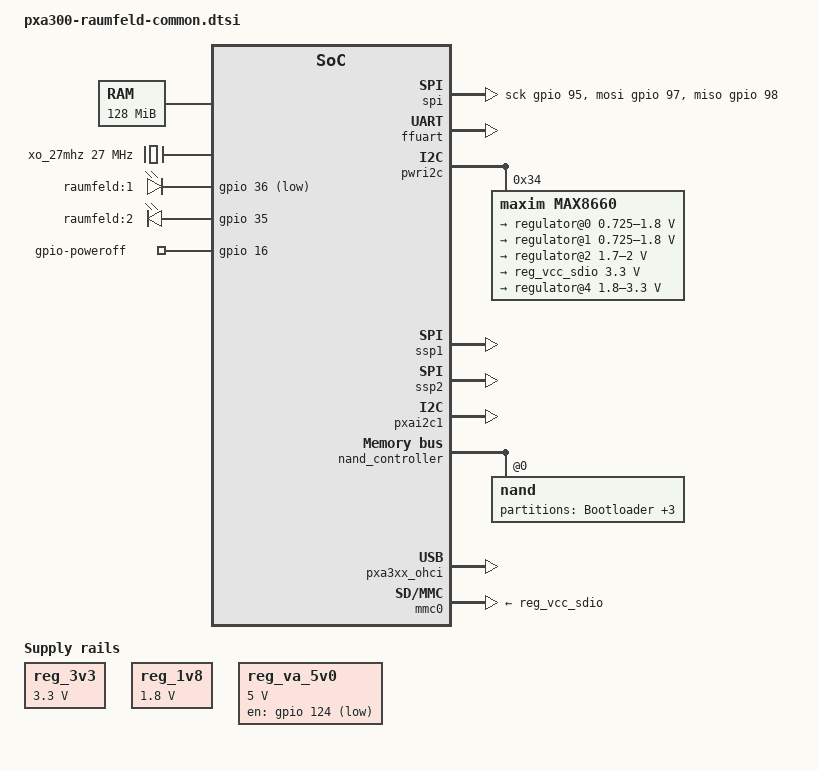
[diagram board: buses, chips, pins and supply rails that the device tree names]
#include "pxa3xx.dtsi"
#include <dt-bindings/gpio/gpio.h>
#include <dt-bindings/input/input.h>
#include <dt-bindings/interrupt-controller/irq.h>

/ {
	chosen {
		bootargs = "console=ttyS0,115200 ubi.mtd=3 root=/dev/nfs nfsroot=192.168.23.1:/export/rootfs-pxa3xx,tcp,v3,nolock rw ip=192.168.23.2:::255.255.255.0 debug init=/init.sh";
		stdout-path = &ffuart;
	};

	memory {
		reg = <0xa0000000 0x8000000>;	/* 128 MB */
	};

	reg_3v3: voltage_3v3 {
		compatible = "regulator-fixed";
		regulator-name = "3v3-fixed-supply";
		regulator-min-microvolt = <3300000>;
		regulator-max-microvolt = <3300000>;
		regulator-always-on;
	};

	reg_1v8: voltage_1v8 {
		compatible = "regulator-fixed";
		regulator-name = "1v8-fixed-supply";
		regulator-min-microvolt = <1800000>;
		regulator-max-microvolt = <1800000>;
		regulator-always-on;
	};

	reg_va_5v0: voltage_va_5v0 {
		compatible = "regulator-fixed";
		regulator-name = "va-5v0-fixed-supply";
		regulator-min-microvolt = <5000000>;
		regulator-max-microvolt = <5000000>;
		gpio = <&gpio 124 GPIO_ACTIVE_HIGH>;
	};

	xo_27mhz: xo_27mhz {
		compatible = "fixed-clock";
		#clock-cells = <0>;
		clock-frequency = <27000000>;
		clock-accuracy = <100>;
	};

	ssp_dai0: ssp_dai@0 {
		compatible = "mrvl,pxa-ssp-dai";
		pinctrl-names = "default";
		pinctrl-0 = <&ssp0_dai_pins>;
		port = <&ssp1>;
		#sound-dai-cells = <0>;
		dmas = <&pdma 13 3
			&pdma 14 3>;
		dma-names = "rx", "tx";
	};

	ssp_dai1: ssp_dai@1 {
		compatible = "mrvl,pxa-ssp-dai";
		pinctrl-names = "default";
		pinctrl-0 = <&ssp1_dai_pins>;
		port = <&ssp2>;
		#sound-dai-cells = <0>;
		dmas = <&pdma 15 3
			&pdma 16 3>;
		dma-names = "rx", "tx";
	};

	spi: spi {
		status = "okay";
		compatible = "spi-gpio";
		#address-cells = <0x1>;
		#size-cells = <0>;
		pinctrl-names = "default";
		pinctrl-0 = <&spi_pins>;

		gpio-sck = <&gpio 95 GPIO_ACTIVE_HIGH>;
		gpio-miso = <&gpio 98 GPIO_ACTIVE_HIGH>;
		gpio-mosi = <&gpio 97 GPIO_ACTIVE_HIGH>;
		cs-gpios = <
			&gpio 34 GPIO_ACTIVE_HIGH
			&gpio 125 GPIO_ACTIVE_HIGH
			&gpio 96 GPIO_ACTIVE_HIGH
		>;
		num-chipselects = <3>;
	};

	leds {
		compatible = "gpio-leds";
		pinctrl-names = "default";
		pinctrl-0 = <&led_pins>;

		led@1 {
			label = "raumfeld:1";
			gpios = <&gpio 36 GPIO_ACTIVE_LOW>;
			linux,default-trigger = "heartbeat";
		};

		led@2 {
			label = "raumfeld:2";
			gpios = <&gpio 35 GPIO_ACTIVE_HIGH>;
		};
	};

	gpio-poweroff {
		compatible = "gpio-poweroff";
		gpios = <&gpio 16 GPIO_ACTIVE_HIGH>;
		timeout-ms = <0>;
	};
};

&ffuart {
	status = "okay";
};

&pwri2c {
	status = "okay";

	max8660: max8660@34 {
		compatible = "maxim,max8660";
		reg = <0x34>;

		regulators {
			regulator@0 {
				regulator-compatible= "V3(DCDC)";
				regulator-min-microvolt = <725000>;
				regulator-max-microvolt = <1800000>;
			};

			regulator@1 {
				regulator-compatible= "V4(DCDC)";
				regulator-min-microvolt = <725000>;
				regulator-max-microvolt = <1800000>;
			};

			regulator@2 {
				regulator-compatible= "V5(LDO)";
				regulator-min-microvolt = <1700000>;
				regulator-max-microvolt = <2000000>;
			};

			reg_vcc_sdio: regulator@3 {
				regulator-compatible= "V6(LDO)";
				regulator-min-microvolt = <3300000>;
				regulator-max-microvolt = <3300000>;
			};

			regulator@4 {
				regulator-compatible= "V7(LDO)";
				regulator-min-microvolt = <1800000>;
				regulator-max-microvolt = <3300000>;
			};
		};
	};
};

&ssp1 {
	status = "okay";
};

&ssp2 {
	status = "okay";
};

&pxai2c1 {
	status = "okay";
	mrvl,i2c-fast-mode;
	pinctrl-names = "default";
	pinctrl-0 = <&pxai2c1_pins>;
};

&nand_controller {
	//status = "okay";

	nand@0 {
		reg = <0>;
		nand-rb = <0>;
		nand-ecc-mode = "hw";
		marvell,nand-keep-config;

		partitions {
			compatible = "fixed-partitions";
			#address-cells = <1>;
			#size-cells = <1>;

			partition@0 {
				label = "Bootloader";
				reg = <0x0000000 0xa0000>;
				read-only;
			};

			partition@a0000 {
				label = "BootloaderEnvironment";
				reg = <0x0a0000 0x20000>;
			};

			partition@c0000 {
				label = "BootloaderSplashScreen";
				reg = <0x0c0000 0x60000>;
			};

			partition@120000 {
				label = "UBI";
				reg = <0x120000 0x7ee0000>;
			};
		};
	};
};

&pxa3xx_ohci {
	status = "okay";
	marvell,enable-port1;
	marvell,port-mode = <2>; /* PMM_GLOBAL_MODE */
	marvell,power-budget = <200>;
	pinctrl-names = "default";
	pinctrl-0 = <&pxa3xx_ohci_pins>;
};

&mmc0 {
	status = "okay";
	pinctrl-names = "default";
	pinctrl-0 = <&mmc0_pins>;
	mrvl,detect-delay-ms = <200>;
	vmmc-supply = <&reg_vcc_sdio>;
};

&pinctrl {
	led_pins: led_pins {
		pinctrl-single,pins = <
			MFP_PIN_PXA300(36) MFP_AF0
			MFP_PIN_PXA300(35) MFP_AF0
		>;
		pinctrl-single,low-power-mode = MFP_LPM(MFP_LPM_FLOAT);
	};

	pxai2c1_pins: pxai2c1_pins {
		pinctrl-single,pins = <
			MFP_PIN_PXA300(21) MFP_AF1	/* SCL	*/
			MFP_PIN_PXA300(22) MFP_AF1	/* SDA	*/
		>;
		pinctrl-single,low-power-mode = MFP_LPM(MFP_LPM_PULL_HIGH);
	};

	spi_pins: spi_pins {
		pinctrl-single,pins = <
			MFP_PIN_PXA300(95) MFP_AF0	/* SCK	*/
			MFP_PIN_PXA300(97) MFP_AF0	/* MOSI	*/
			MFP_PIN_PXA300(98) MFP_AF0	/* MISO	*/
			MFP_PIN_PXA300(34) MFP_AF0	/* CS#0	*/
			MFP_PIN_PXA300(125) MFP_AF0	/* CS#1	*/
			MFP_PIN_PXA300(96) MFP_AF0	/* CS#2	*/
		>;
		pinctrl-single,low-power-mode = MFP_LPM(MFP_LPM_PULL_LOW);
	};

	pxa3xx_ohci_pins: pxa3xx_ohci_pins {
		pinctrl-single,pins = <
			MFP_PIN_PXA300_0_2 MFP_AF1	/* USBHPEN */
			MFP_PIN_PXA300_1_2 MFP_AF1	/* USBHPWR */
		>;
		pinctrl-single,low-power-mode = MFP_LPM(MFP_LPM_PULL_LOW);
	};

	mmc0_pins: mmc0_pins {
		pinctrl-single,pins = <
			MFP_PIN_PXA300(3) MFP_AF4	/* DAT0	*/
			MFP_PIN_PXA300(4) MFP_AF4	/* DAT1	*/
			MFP_PIN_PXA300(5) MFP_AF4	/* DAT2	*/
			MFP_PIN_PXA300(6) MFP_AF4	/* DAT3	*/
			MFP_PIN_PXA300(7) MFP_AF4	/* CLK	*/
			MFP_PIN_PXA300(8) MFP_AF4	/* CMD	*/
		>;
		pinctrl-single,low-power-mode = MFP_LPM(MFP_LPM_FLOAT);
		// XXX drive high?
	};

	ssp0_dai_pins: ssp0_dai_pins {
		pinctrl-single,pins = <
			MFP_PIN_PXA300(85) MFP_AF1	/* SCLK		*/
			MFP_PIN_PXA300(86) MFP_AF1	/* FRM		*/
			MFP_PIN_PXA300(87) MFP_AF1	/* TXD		*/
			MFP_PIN_PXA300(88) MFP_AF1	/* RXD		*/
			MFP_PIN_PXA300(89) MFP_AF1	/* EXTCLK	*/
			MFP_PIN_PXA300(90) MFP_AF1	/* SYSCLK	*/
		>;
		pinctrl-single,low-power-mode = MFP_LPM(MFP_LPM_PULL_LOW);
	};

	ssp1_dai_pins: ssp1_dai_pins {
		pinctrl-single,pins = <
			MFP_PIN_PXA300(25) MFP_AF2	/* SCLK		*/
			MFP_PIN_PXA300(26) MFP_AF2	/* FRM		*/
			MFP_PIN_PXA300(27) MFP_AF2	/* TXD		*/
			MFP_PIN_PXA300(29) MFP_AF2	/* EXTCLK	*/
		>;
		pinctrl-single,low-power-mode = MFP_LPM(MFP_LPM_PULL_LOW);
	};
};

